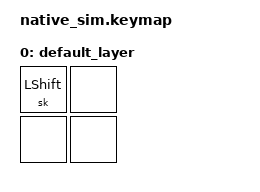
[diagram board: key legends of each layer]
#include <dt-bindings/zmk/keys.h>
#include <behaviors.dtsi>
#include <dt-bindings/zmk/input_mock.h>

/ {
    keymap {
        compatible = "zmk,keymap";

        default_layer {
            bindings = <
                &sk LEFT_SHIFT &none
                &none &none
            >;
        };
    };
};

&mock_input {
    events = <
        ZMK_INPUT_MOCK_PRESS(0,0,10)
        ZMK_INPUT_MOCK_RELEASE(0,0,10)
        /* the sticky key is pressed again, so the previous one must be cancelled */
        ZMK_INPUT_MOCK_PRESS(0,0,10)
        ZMK_INPUT_MOCK_RELEASE(0,0,1200)
    >;
};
